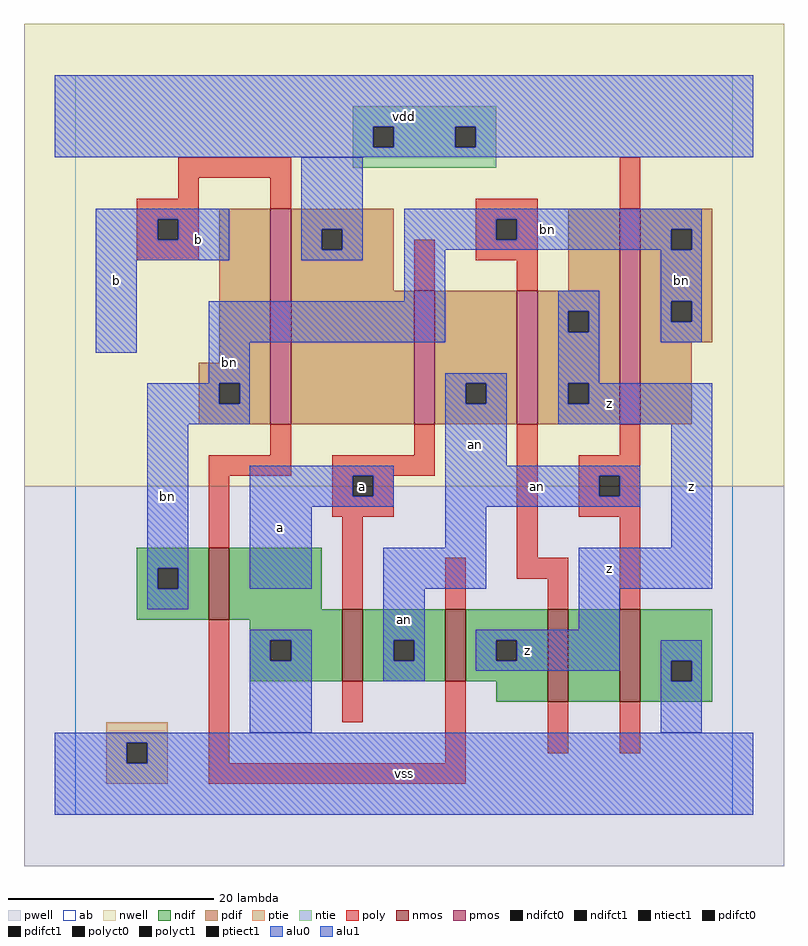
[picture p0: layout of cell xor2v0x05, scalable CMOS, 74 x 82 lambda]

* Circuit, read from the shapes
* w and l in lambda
.subckt xor2v0x05 a an b bn vdd vss z
M1 vss b bn vss nfet w=7 l=2
M2 an a vss vss nfet w=7 l=2
M3 z b an vss nfet w=7 l=2
M4 n1 bn z vss nfet w=9 l=2
M5 vss an n1 vss nfet w=9 l=2
M6 vdd b bn vdd pfet w=21 l=2
M7 an a vdd vdd pfet w=13 l=2
M8 z bn an vdd pfet w=13 l=2
M9 bn an z vdd pfet w=21 l=2
.ends

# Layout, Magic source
magic
tech scmos
<< ab >>
rect 0 0 64 72
<< nwell >>
rect -5 32 69 77
<< pwell >>
rect -5 -5 69 32
<< poly >>
rect 10 62 21 64
rect 10 60 12 62
rect 6 58 12 60
rect 19 59 21 62
rect 6 56 8 58
rect 10 56 12 58
rect 6 54 12 56
rect 39 58 45 60
rect 53 59 55 64
rect 39 56 41 58
rect 43 56 45 58
rect 33 51 35 56
rect 39 54 45 56
rect 43 51 45 54
rect 19 35 21 38
rect 33 35 35 38
rect 13 33 21 35
rect 25 33 35 35
rect 13 26 15 33
rect 25 31 27 33
rect 29 31 31 33
rect 25 29 31 31
rect 26 20 28 29
rect 43 25 45 38
rect 53 35 55 38
rect 49 33 55 35
rect 49 31 51 33
rect 53 31 55 33
rect 49 29 55 31
rect 36 20 38 25
rect 43 23 48 25
rect 46 20 48 23
rect 53 20 55 29
rect 13 5 15 19
rect 26 9 28 13
rect 36 5 38 13
rect 46 6 48 11
rect 53 6 55 11
rect 13 3 38 5
<< ndif >>
rect 6 24 13 26
rect 6 22 8 24
rect 10 22 13 24
rect 6 19 13 22
rect 15 20 24 26
rect 15 19 26 20
rect 17 17 26 19
rect 17 15 19 17
rect 21 15 26 17
rect 17 13 26 15
rect 28 17 36 20
rect 28 15 31 17
rect 33 15 36 17
rect 28 13 36 15
rect 38 17 46 20
rect 38 15 41 17
rect 43 15 46 17
rect 38 13 46 15
rect 41 11 46 13
rect 48 11 53 20
rect 55 15 62 20
rect 55 13 58 15
rect 60 13 62 15
rect 55 11 62 13
<< pdif >>
rect 14 44 19 59
rect 12 42 19 44
rect 12 40 14 42
rect 16 40 19 42
rect 12 38 19 40
rect 21 57 31 59
rect 21 55 24 57
rect 26 55 31 57
rect 21 51 31 55
rect 48 51 53 59
rect 21 38 33 51
rect 35 42 43 51
rect 35 40 38 42
rect 40 40 43 42
rect 35 38 43 40
rect 45 49 53 51
rect 45 47 48 49
rect 50 47 53 49
rect 45 42 53 47
rect 45 40 48 42
rect 50 40 53 42
rect 45 38 53 40
rect 55 57 62 59
rect 55 55 58 57
rect 60 55 62 57
rect 55 50 62 55
rect 55 48 58 50
rect 60 48 62 50
rect 55 46 62 48
rect 55 38 60 46
<< alu1 >>
rect -2 67 66 72
rect -2 65 29 67
rect 31 65 37 67
rect 39 65 66 67
rect -2 64 66 65
rect 2 58 15 59
rect 2 56 8 58
rect 10 56 15 58
rect 2 54 15 56
rect 2 45 6 54
rect 47 49 51 51
rect 47 47 48 49
rect 50 47 51 49
rect 47 42 51 47
rect 47 40 48 42
rect 50 40 62 42
rect 47 38 62 40
rect 17 33 31 34
rect 17 31 27 33
rect 29 31 31 33
rect 17 30 31 31
rect 17 22 23 30
rect 58 26 62 38
rect 49 22 62 26
rect 49 18 53 22
rect 39 17 53 18
rect 39 15 41 17
rect 43 15 53 17
rect 39 14 53 15
rect -2 7 66 8
rect -2 5 5 7
rect 7 5 66 7
rect -2 0 66 5
<< ptie >>
rect 3 7 9 9
rect 3 5 5 7
rect 7 5 9 7
rect 3 3 9 5
<< ntie >>
rect 27 67 41 69
rect 27 65 29 67
rect 31 65 37 67
rect 39 65 41 67
rect 27 63 41 65
<< nmos >>
rect 13 19 15 26
rect 26 13 28 20
rect 36 13 38 20
rect 46 11 48 20
rect 53 11 55 20
<< pmos >>
rect 19 38 21 59
rect 33 38 35 51
rect 43 38 45 51
rect 53 38 55 59
<< polyct0 >>
rect 41 56 43 58
rect 51 31 53 33
<< polyct1 >>
rect 8 56 10 58
rect 27 31 29 33
<< ndifct0 >>
rect 8 22 10 24
rect 19 15 21 17
rect 31 15 33 17
rect 58 13 60 15
<< ndifct1 >>
rect 41 15 43 17
<< ntiect1 >>
rect 29 65 31 67
rect 37 65 39 67
<< ptiect1 >>
rect 5 5 7 7
<< pdifct0 >>
rect 14 40 16 42
rect 24 55 26 57
rect 38 40 40 42
rect 58 55 60 57
rect 58 48 60 50
<< pdifct1 >>
rect 48 47 50 49
rect 48 40 50 42
<< alu0 >>
rect 22 57 28 64
rect 22 55 24 57
rect 26 55 28 57
rect 22 54 28 55
rect 32 58 61 59
rect 32 56 41 58
rect 43 57 61 58
rect 43 56 58 57
rect 32 55 58 56
rect 60 55 61 57
rect 32 50 36 55
rect 13 46 36 50
rect 13 42 17 46
rect 7 40 14 42
rect 16 40 17 42
rect 7 38 17 40
rect 36 42 42 43
rect 36 40 38 42
rect 40 40 42 42
rect 7 24 11 38
rect 36 34 42 40
rect 57 50 61 55
rect 57 48 58 50
rect 60 48 61 50
rect 57 46 61 48
rect 7 22 8 24
rect 10 22 11 24
rect 36 33 55 34
rect 36 31 51 33
rect 53 31 55 33
rect 36 30 55 31
rect 36 26 40 30
rect 30 22 40 26
rect 7 20 11 22
rect 17 17 23 18
rect 17 15 19 17
rect 21 15 23 17
rect 17 8 23 15
rect 30 17 34 22
rect 30 15 31 17
rect 33 15 34 17
rect 30 13 34 15
rect 57 15 61 17
rect 57 13 58 15
rect 60 13 61 15
rect 57 8 61 13
<< labels >>
rlabel alu0 15 44 15 44 6 bn
rlabel alu0 9 31 9 31 6 bn
rlabel alu0 32 19 32 19 6 an
rlabel alu0 39 36 39 36 6 an
rlabel alu0 45 32 45 32 6 an
rlabel alu0 59 52 59 52 6 bn
rlabel alu0 46 57 46 57 6 bn
rlabel alu1 4 52 4 52 6 b
rlabel alu1 12 56 12 56 6 b
rlabel alu1 20 28 20 28 6 a
rlabel polyct1 28 32 28 32 6 a
rlabel alu1 32 4 32 4 6 vss
rlabel alu1 44 16 44 16 6 z
rlabel alu1 32 68 32 68 6 vdd
rlabel alu1 52 24 52 24 6 z
rlabel alu1 60 32 60 32 6 z
rlabel alu1 52 40 52 40 6 z
<< end >>
